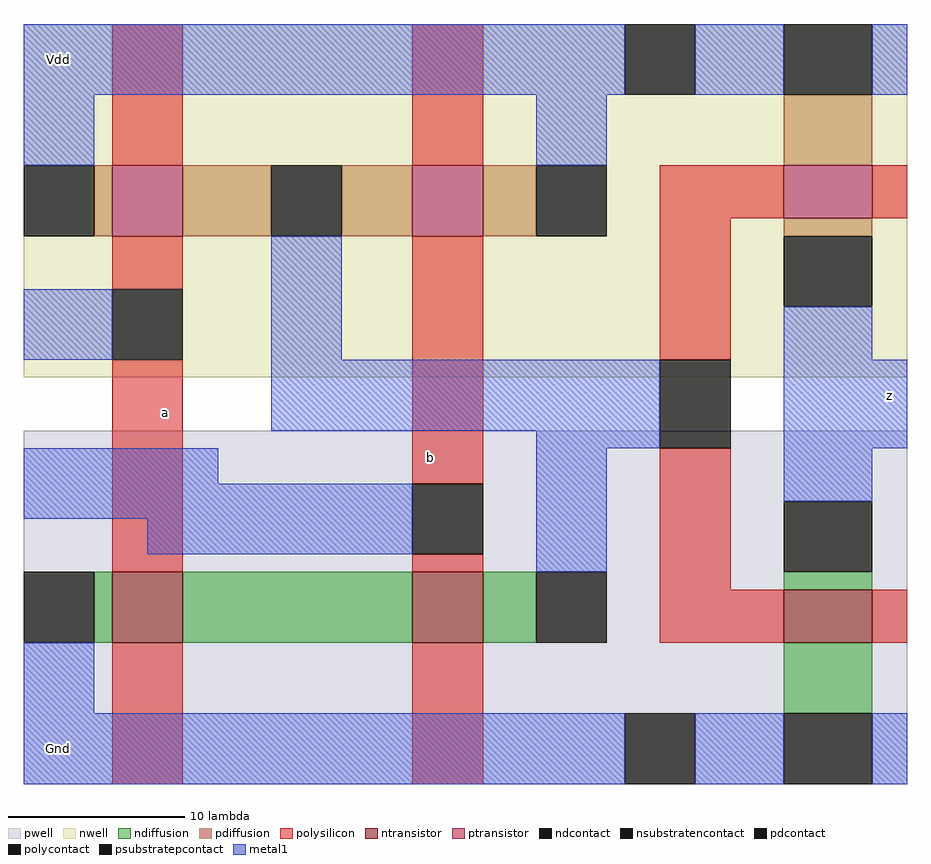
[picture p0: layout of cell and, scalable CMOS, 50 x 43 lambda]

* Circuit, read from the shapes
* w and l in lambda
.subckt and Gnd Vdd a b z
M1 n1 a Gnd Gnd nfet w=4 l=4
M2 n2 b n1 Gnd nfet w=4 l=4
M3 z n2 Gnd Gnd nfet w=5 l=3
M4 n2 a Vdd Vdd pfet w=4 l=4
M5 Vdd b n2 Vdd pfet w=4 l=4
M6 Vdd n2 z Vdd pfet w=5 l=3
.ends

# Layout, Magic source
magic
tech scmos
<< pwell >>
rect -25 -19 25 1
<< nwell >>
rect -25 4 25 24
<< polysilicon >>
rect -20 16 -16 24
rect -3 16 1 24
rect 11 13 18 16
rect 23 13 25 16
rect -20 9 -16 12
rect -20 -7 -16 5
rect -3 -2 1 12
rect -3 -7 1 -6
rect 11 5 15 13
rect 11 -8 15 0
rect 11 -11 18 -8
rect 23 -11 25 -8
rect -20 -19 -16 -11
rect -3 -19 1 -11
<< ndiffusion >>
rect -21 -11 -20 -7
rect -16 -11 -3 -7
rect 1 -11 4 -7
rect 18 -8 23 -7
rect 18 -15 23 -11
<< pdiffusion >>
rect 18 16 23 20
rect -21 12 -20 16
rect -16 12 -11 16
rect -7 12 -3 16
rect 1 12 4 16
rect 18 12 23 13
<< metal1 >>
rect -25 20 9 24
rect 13 20 18 24
rect 23 20 25 24
rect -25 16 -21 20
rect 4 16 8 20
rect -25 5 -20 9
rect -11 5 -7 12
rect 18 5 23 8
rect -11 1 11 5
rect 4 0 11 1
rect 18 0 25 5
rect -25 -2 -14 0
rect -25 -4 -3 -2
rect -18 -6 -3 -4
rect 4 -7 8 0
rect 18 -3 23 0
rect -25 -15 -21 -11
rect -25 -19 9 -15
rect 13 -19 18 -15
rect 23 -19 25 -15
<< ntransistor >>
rect -20 -11 -16 -7
rect -3 -11 1 -7
rect 18 -11 23 -8
<< ptransistor >>
rect -20 12 -16 16
rect -3 12 1 16
rect 18 13 23 16
<< polycontact >>
rect -20 5 -16 9
rect -3 -6 1 -2
rect 11 0 15 5
<< ndcontact >>
rect -25 -11 -21 -7
rect 4 -11 8 -7
rect 18 -7 23 -3
rect 18 -19 23 -15
<< pdcontact >>
rect 18 20 23 24
rect -25 12 -21 16
rect -11 12 -7 16
rect 4 12 8 16
rect 18 8 23 12
<< psubstratepcontact >>
rect 9 -19 13 -15
<< nsubstratencontact >>
rect 9 20 13 24
<< labels >>
rlabel metal1 24 3 24 3 7 z
rlabel metal1 -23 22 -23 22 4 Vdd
rlabel metal1 -23 -17 -23 -17 2 Gnd
rlabel polysilicon -2 -1 -2 0 1 b
rlabel polysilicon -17 2 -17 2 1 a
<< end >>
